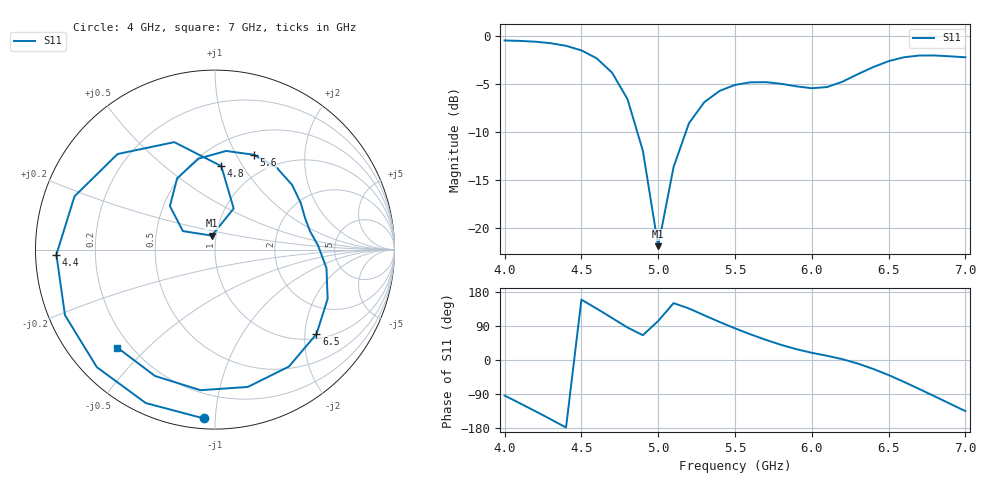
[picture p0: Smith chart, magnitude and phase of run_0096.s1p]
! Touchstone file exported from HFSS 2024.2.0
!  File:  C:/Users/wsak9/Desktop/Sim Fast/Widenad Patch/WP_AI_V1_sweep.aedt
!  Generated:  06:54:35 PM Oct 13, 2026
!  Design:  A1_model
!  Project:  WP_AI_V1_sweep
!  Setup:  Setup1
!  Solution:  Sweep
! Variables:
!  Air_gap = 2.74mm
!  Curve_Amp1 = 1.66
!  Curve_len1 = 1
!  Curve_pos = 11.275mm
!  Extra = 5.66mm
!  H_sub = 0.79mm
!  L_Patch = 18.55mm
!  L_Patch1 = 15.73mm
!  Sx = 0.85mm
!  Sy = 2.62mm
!  WS = 1.35mm
!  W_Patch = 13.95mm
!  W_Patch1 = 10.07mm
!Data is not renormalized
# GHz S MA
! Terminal data exported
! Port[1] = 1
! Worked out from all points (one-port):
!   31 points, 4 GHz to 7 GHz, reference per port
!   lowest |S11| = -21.9 dB at 5 GHz (marker M1), VSWR 1.17
!   |S11| at or under -10 dB: 4.863 GHz to 5.181 GHz (318.3 MHz wide, 6.34 % of centre)
!   S11 on the Smith chart (normalised r, x): 4 GHz: 0.06, -0.93; 4.4 GHz: 0.06, -0.02; 4.8 GHz: 0.68, +0.81; 5.6 GHz: 0.75, +1.18; 6.5 GHz: 1.12, -2.29; 7 GHz: 0.15, -0.41
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4  0.9428 -93.8
4.1  0.938 -114.3
4.2  0.9288 -135.1
4.3  0.9123 -156.4
4.4  0.8841 -178.2
4.5  0.8371 159.2
4.6  0.7605 135.6
4.7  0.6402 110.7
4.8  0.4665 85.7
4.9  0.2514 65.5
5  0.07995 102.9
5.1  0.2064 150.1
5.2  0.349 136.0
5.3  0.4497 118.0
5.4  0.515 100.3
5.5  0.5532 83.5
5.6  0.5706 67.8
5.7  0.5718 53.3
5.9  0.5438 28.5
6.1  0.5392 11.0
6.3  0.6295 -9.4
6.4  0.6848 -23.6
6.5  0.7356 -39.8
6.6  0.7708 -57.7
6.7  0.7868 -76.6
6.8  0.7875 -95.9
6.9  0.7795 -115.4
7  0.7708 -134.9
